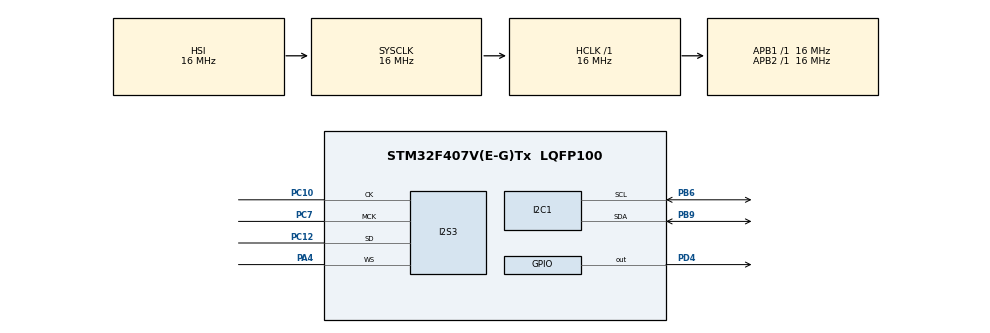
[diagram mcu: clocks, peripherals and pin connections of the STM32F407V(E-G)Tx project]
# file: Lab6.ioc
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Dma.Request0=SPI3_TX
Dma.SPI3_TX.0.Direction=DMA_MEMORY_TO_PERIPH
Dma.SPI3_TX.0.FIFOMode=DMA_FIFOMODE_ENABLE
Dma.SPI3_TX.0.FIFOThreshold=DMA_FIFO_THRESHOLD_FULL
Dma.SPI3_TX.0.Instance=DMA1_Stream5
Dma.SPI3_TX.0.MemBurst=DMA_MBURST_SINGLE
Dma.SPI3_TX.0.MemDataAlignment=DMA_MDATAALIGN_HALFWORD
Dma.SPI3_TX.0.MemInc=DMA_MINC_ENABLE
Dma.SPI3_TX.0.Mode=DMA_CIRCULAR
Dma.SPI3_TX.0.PeriphBurst=DMA_PBURST_SINGLE
Dma.SPI3_TX.0.PeriphDataAlignment=DMA_PDATAALIGN_HALFWORD
Dma.SPI3_TX.0.PeriphInc=DMA_PINC_DISABLE
Dma.SPI3_TX.0.Priority=DMA_PRIORITY_LOW
I2S3.AudioFreq=I2S_AUDIOFREQ_48K
I2S3.ErrorAudioFreq=-2.34 %
I2S3.FullDuplexMode=I2S_FULLDUPLEXMODE_DISABLE
I2S3.Instance=SPI$Index
I2S3.RealAudioFreq=46.875 KHz
I2S3.VirtualMode=I2S_MODE_MASTER
Mcu.Family=STM32F4
Mcu.Name=STM32F407V(E-G)Tx
Mcu.Package=LQFP100
NVIC.DMA1_Stream5_IRQn=true\:0\:0\:false\:false\:true\:false\:true\:true
NVIC.PriorityGroup=NVIC_PRIORITYGROUP_4
PA4.Mode=Half_Duplex_Master
PA4.Signal=I2S3_WS
PB6.Mode=I2C
PB6.Signal=I2C1_SCL
PB9.Mode=I2C
PB9.Signal=I2C1_SDA
PC10.Mode=Half_Duplex_Master
PC10.Signal=I2S3_CK
PC12.Mode=Half_Duplex_Master
PC12.Signal=I2S3_SD
PC7.Mode=Master_Clock_Activated
PC7.Signal=I2S3_MCK
PD4.Signal=GPIO_Output
ProjectManager.HeapSize=0x200
ProjectManager.StackSize=0x400
ProjectManager.TargetToolchain=STM32CubeIDE
RCC.AHBFreq_Value=16000000
RCC.APB1Freq_Value=16000000
RCC.APB2Freq_Value=16000000
RCC.CortexFreq_Value=16000000
RCC.HSE_VALUE=25000000
RCC.HSI_VALUE=16000000
RCC.LSE_VALUE=32768
RCC.SYSCLKFreq_VALUE=16000000
RCC.VCOOutputFreq_Value=192000000
board=custom

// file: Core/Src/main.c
/* USER CODE BEGIN Header */
/**
  ******************************************************************************
  * @file           : main.c
  * @brief          : Main program body
  ******************************************************************************
  * @attention
  *
  * Copyright (c) 2023 STMicroelectronics.
  * All rights reserved.
  *
  * This software is licensed under terms that can be found in the LICENSE file
  * in the root directory of this software component.
  * If no LICENSE file comes with this software, it is provided AS-IS.
  *
  ******************************************************************************
  */
/* USER CODE END Header */
#include "main.h"

/* USER CODE BEGIN PTD */

typedef enum
{
	C4,
	C5,
	D5,
	E5,
	F5,
	G5,
	A5,
	B5,
	C6,
	D6,
	E6,
	F6,
	G6,
	A6,
	B6,
	C7,
	MAX_VALUE
} soundToneType;

/* USER CODE END PTD */

/* USER CODE BEGIN PD */

#define CS43L22_I2C_ADDRESS		0x94
#define I2C_TIMEOUT				10

/* USER CODE END PD */

I2C_HandleTypeDef hi2c1;

I2S_HandleTypeDef hi2s3;
DMA_HandleTypeDef hdma_spi3_tx;

/* USER CODE BEGIN PV */

int16_t dataI2S[100] = {0};

/* USER CODE END PV */

void SystemClock_Config(void);
static void MX_GPIO_Init(void);
static void MX_DMA_Init(void);
static void MX_I2C1_Init(void);
static void MX_I2S3_Init(void);

/* USER CODE BEGIN 0 */

void CS43L22_Init(void)
{
	// Enable chip
	HAL_GPIO_WritePin(GPIOD, GPIO_PIN_4, GPIO_PIN_SET);

	//
	// Initialization
	//
	uint8_t TxBuffer[2];

	TxBuffer[0] = 0x0D;
	TxBuffer[1] = 0x01;
	HAL_I2C_Master_Transmit(&hi2c1, CS43L22_I2C_ADDRESS, (uint8_t*) &TxBuffer, 2, I2C_TIMEOUT);

	TxBuffer[0] = 0x00;
	TxBuffer[1] = 0x99;
	HAL_I2C_Master_Transmit(&hi2c1, CS43L22_I2C_ADDRESS, (uint8_t*) &TxBuffer, 2, I2C_TIMEOUT);

	TxBuffer[0] = 0x47;
	TxBuffer[1] = 0x80;
	HAL_I2C_Master_Transmit(&hi2c1, CS43L22_I2C_ADDRESS, (uint8_t*) &TxBuffer, 2, I2C_TIMEOUT);

	TxBuffer[0] = 0x32;
	TxBuffer[1] = 0xFF;
	HAL_I2C_Master_Transmit(&hi2c1, CS43L22_I2C_ADDRESS, (uint8_t*) &TxBuffer, 2, I2C_TIMEOUT);

	TxBuffer[0] = 0x32;
	TxBuffer[1] = 0x7F;
	HAL_I2C_Master_Transmit(&hi2c1, CS43L22_I2C_ADDRESS, (uint8_t*) &TxBuffer, 2, I2C_TIMEOUT);

	TxBuffer[0] = 0x00;
	TxBuffer[1] = 0x00;
	HAL_I2C_Master_Transmit(&hi2c1, CS43L22_I2C_ADDRESS, (uint8_t*) &TxBuffer, 2, I2C_TIMEOUT);

	TxBuffer[0] = 0x04;
	TxBuffer[1] = 0xAF;
	HAL_I2C_Master_Transmit(&hi2c1, CS43L22_I2C_ADDRESS, (uint8_t*) &TxBuffer, 2, I2C_TIMEOUT);

	TxBuffer[0] = 0x0D;
	TxBuffer[1] = 0x70;
	HAL_I2C_Master_Transmit(&hi2c1, CS43L22_I2C_ADDRESS, (uint8_t*) &TxBuffer, 2, I2C_TIMEOUT);

	TxBuffer[0] = 0x05;
	TxBuffer[1] = 0x81;
	HAL_I2C_Master_Transmit(&hi2c1, CS43L22_I2C_ADDRESS, (uint8_t*) &TxBuffer, 2, I2C_TIMEOUT);

	TxBuffer[0] = 0x06;
	TxBuffer[1] = 0x07;
	HAL_I2C_Master_Transmit(&hi2c1, CS43L22_I2C_ADDRESS, (uint8_t*) &TxBuffer, 2, I2C_TIMEOUT);

	TxBuffer[0] = 0x0A;
	TxBuffer[1] = 0x00;
	HAL_I2C_Master_Transmit(&hi2c1, CS43L22_I2C_ADDRESS, (uint8_t*) &TxBuffer, 2, I2C_TIMEOUT);

	TxBuffer[0] = 0x27;
	TxBuffer[1] = 0x00;
	HAL_I2C_Master_Transmit(&hi2c1, CS43L22_I2C_ADDRESS, (uint8_t*) &TxBuffer, 2, I2C_TIMEOUT);

	TxBuffer[0] = 0x1A;
	TxBuffer[1] = 0x0A;
	HAL_I2C_Master_Transmit(&hi2c1, CS43L22_I2C_ADDRESS, (uint8_t*) &TxBuffer, 2, I2C_TIMEOUT);

	TxBuffer[0] = 0x1B;
	TxBuffer[1] = 0x0A;
	HAL_I2C_Master_Transmit(&hi2c1, CS43L22_I2C_ADDRESS, (uint8_t*) &TxBuffer, 2, I2C_TIMEOUT);

	TxBuffer[0] = 0x1F;
	TxBuffer[1] = 0x0F;
	HAL_I2C_Master_Transmit(&hi2c1, CS43L22_I2C_ADDRESS, (uint8_t*) &TxBuffer, 2, I2C_TIMEOUT);

	TxBuffer[0] = 0x02;
	TxBuffer[1] = 0x9E;
	HAL_I2C_Master_Transmit(&hi2c1, CS43L22_I2C_ADDRESS, (uint8_t*) &TxBuffer, 2, I2C_TIMEOUT);
}

void CS43L22_Beep(soundToneType pitch, uint32_t duration_ms)
{
	uint8_t TxBuffer[2];

	TxBuffer[0] = 0x1D;
	TxBuffer[1] = 0x00;
	HAL_I2C_Master_Transmit(&hi2c1, CS43L22_I2C_ADDRESS, (uint8_t*) &TxBuffer, 2, I2C_TIMEOUT);

	TxBuffer[0] = 0x1C;
	switch (pitch)
	{
		case C4:
			TxBuffer[1] = 0x00;
			break;
		case C5:
			TxBuffer[1] = 0x11;
			break;
		case D5:
			TxBuffer[1] = 0x22;
			break;
		case E5:
			TxBuffer[1] = 0x33;
			break;
		case F5:
			TxBuffer[1] = 0x44;
			break;
		case G5:
			TxBuffer[1] = 0x55;
			break;
		case A5:
			TxBuffer[1] = 0x66;
			break;
		case B5:
			TxBuffer[1] = 0x77;
			break;
		case C6:
			TxBuffer[1] = 0x88;
			break;
		case D6:
			TxBuffer[1] = 0x99;
			break;
		case E6:
			TxBuffer[1] = 0xAA;
			break;
		case F6:
			TxBuffer[1] = 0xBB;
			break;
		case G6:
			TxBuffer[1] = 0xCC;
			break;
		case A6:
			TxBuffer[1] = 0xDD;
			break;
		case B6:
			TxBuffer[1] = 0xEE;
			break;
		case C7:
			TxBuffer[1] = 0xFF;
			break;
		case MAX_VALUE:
		default:
			TxBuffer[1] = 0x00;
			break;
	}
	HAL_I2C_Master_Transmit(&hi2c1, CS43L22_I2C_ADDRESS, (uint8_t*) &TxBuffer, 2, I2C_TIMEOUT);

	TxBuffer[0] = 0x1E;
	TxBuffer[1] = 0xC0;
	HAL_I2C_Master_Transmit(&hi2c1, CS43L22_I2C_ADDRESS, (uint8_t*) &TxBuffer, 2, I2C_TIMEOUT);

	HAL_Delay(duration_ms);

	TxBuffer[0] = 0x1E;
	TxBuffer[1] = 0x00;
	HAL_I2C_Master_Transmit(&hi2c1, CS43L22_I2C_ADDRESS, (uint8_t*) &TxBuffer, 2, I2C_TIMEOUT);
}

/* USER CODE END 0 */

int main(void)
{

  /* MCU Configuration--------------------------------------------------------*/

  /* Reset of all peripherals, Initializes the Flash interface and the Systick. */
  HAL_Init();

  /* Configure the system clock */
  SystemClock_Config();

  /* Initialize all configured peripherals */
  MX_GPIO_Init();
  MX_DMA_Init();
  MX_I2C1_Init();
  MX_I2S3_Init();
  /* USER CODE BEGIN 2 */

  // Init DAC
  CS43L22_Init();

  // Transmit empty data
  HAL_I2S_Transmit_DMA(&hi2s3, (uint16_t *)dataI2S, 100);

  /* USER CODE END 2 */

  /* Infinite loop */
  /* USER CODE BEGIN WHILE */
  while (1)
  {
	  	 CS43L22_Beep(G5, 200);
	     CS43L22_Beep(G5, 200);
	     CS43L22_Beep(A5, 250);
	     CS43L22_Beep(G5, 150);
	     CS43L22_Beep(C6, 150);
	     CS43L22_Beep(B5, 150);

	     HAL_Delay(500);

	     CS43L22_Beep(G5, 200);
	     CS43L22_Beep(G5, 200);
	     CS43L22_Beep(A5, 250);
	     CS43L22_Beep(G5, 150);
	     CS43L22_Beep(D6, 150);
	     CS43L22_Beep(C6, 150);

	     HAL_Delay(500);

	     CS43L22_Beep(G5, 200);
	     CS43L22_Beep(G5, 200);
	     CS43L22_Beep(G5, 250);
	     CS43L22_Beep(E5, 150);
	     CS43L22_Beep(C5, 250);
	     CS43L22_Beep(C5, 200);
	     CS43L22_Beep(B5, 250);
	     CS43L22_Beep(A5, 250);

	     HAL_Delay(500);

	     CS43L22_Beep(F5, 200);
	     CS43L22_Beep(F5, 200);
	     CS43L22_Beep(E5, 200);
	     CS43L22_Beep(C5, 200);
	     CS43L22_Beep(D5, 350);
	     CS43L22_Beep(C5, 350);

	     HAL_Delay(500);

    /* USER CODE END WHILE */

  }
}

void SystemClock_Config(void)
{
  RCC_OscInitTypeDef RCC_OscInitStruct = {0};
  RCC_ClkInitTypeDef RCC_ClkInitStruct = {0};

  /** Macro to configure the PLL multiplication factor
  */
  __HAL_RCC_PLL_PLLM_CONFIG(16);

  /** Macro to configure the PLL clock source
  */
  __HAL_RCC_PLL_PLLSOURCE_CONFIG(RCC_PLLSOURCE_HSI);

  /** Configure the main internal regulator output voltage
  */
  __HAL_RCC_PWR_CLK_ENABLE();
  __HAL_PWR_VOLTAGESCALING_CONFIG(PWR_REGULATOR_VOLTAGE_SCALE1);

  /** Initializes the RCC Oscillators according to the specified parameters
  * in the RCC_OscInitTypeDef structure.
  */
  RCC_OscInitStruct.OscillatorType = RCC_OSCILLATORTYPE_HSI;
  RCC_OscInitStruct.HSIState = RCC_HSI_ON;
  RCC_OscInitStruct.HSICalibrationValue = RCC_HSICALIBRATION_DEFAULT;
  RCC_OscInitStruct.PLL.PLLState = RCC_PLL_NONE;
  RCC_OscInitStruct.PLL.PLLSource = RCC_PLLSOURCE_HSI;
  if (HAL_RCC_OscConfig(&RCC_OscInitStruct) != HAL_OK)
  {
    Error_Handler();
  }

  /** Initializes the CPU, AHB and APB buses clocks
  */
  RCC_ClkInitStruct.ClockType = RCC_CLOCKTYPE_HCLK|RCC_CLOCKTYPE_SYSCLK
                              |RCC_CLOCKTYPE_PCLK1|RCC_CLOCKTYPE_PCLK2;
  RCC_ClkInitStruct.SYSCLKSource = RCC_SYSCLKSOURCE_HSI;
  RCC_ClkInitStruct.AHBCLKDivider = RCC_SYSCLK_DIV1;
  RCC_ClkInitStruct.APB1CLKDivider = RCC_HCLK_DIV1;
  RCC_ClkInitStruct.APB2CLKDivider = RCC_HCLK_DIV1;

  if (HAL_RCC_ClockConfig(&RCC_ClkInitStruct, FLASH_LATENCY_0) != HAL_OK)
  {
    Error_Handler();
  }
}

static void MX_I2C1_Init(void)
{

  hi2c1.Instance = I2C1;
  hi2c1.Init.ClockSpeed = 100000;
  hi2c1.Init.DutyCycle = I2C_DUTYCYCLE_2;
  hi2c1.Init.OwnAddress1 = 0;
  hi2c1.Init.AddressingMode = I2C_ADDRESSINGMODE_7BIT;
  hi2c1.Init.DualAddressMode = I2C_DUALADDRESS_DISABLE;
  hi2c1.Init.OwnAddress2 = 0;
  hi2c1.Init.GeneralCallMode = I2C_GENERALCALL_DISABLE;
  hi2c1.Init.NoStretchMode = I2C_NOSTRETCH_DISABLE;
  if (HAL_I2C_Init(&hi2c1) != HAL_OK)
  {
    Error_Handler();
  }

}

static void MX_I2S3_Init(void)
{

  hi2s3.Instance = SPI3;
  hi2s3.Init.Mode = I2S_MODE_MASTER_TX;
  hi2s3.Init.Standard = I2S_STANDARD_PHILIPS;
  hi2s3.Init.DataFormat = I2S_DATAFORMAT_16B;
  hi2s3.Init.MCLKOutput = I2S_MCLKOUTPUT_ENABLE;
  hi2s3.Init.AudioFreq = I2S_AUDIOFREQ_48K;
  hi2s3.Init.CPOL = I2S_CPOL_LOW;
  hi2s3.Init.ClockSource = I2S_CLOCK_PLL;
  hi2s3.Init.FullDuplexMode = I2S_FULLDUPLEXMODE_DISABLE;
  if (HAL_I2S_Init(&hi2s3) != HAL_OK)
  {
    Error_Handler();
  }

}

static void MX_DMA_Init(void)
{

  /* DMA controller clock enable */
  __HAL_RCC_DMA1_CLK_ENABLE();

  /* DMA interrupt init */
  /* DMA1_Stream5_IRQn interrupt configuration */
  HAL_NVIC_SetPriority(DMA1_Stream5_IRQn, 0, 0);
  HAL_NVIC_EnableIRQ(DMA1_Stream5_IRQn);

}

static void MX_GPIO_Init(void)
{
  GPIO_InitTypeDef GPIO_InitStruct = {0};

  /* GPIO Ports Clock Enable */
  __HAL_RCC_GPIOA_CLK_ENABLE();
  __HAL_RCC_GPIOC_CLK_ENABLE();
  __HAL_RCC_GPIOD_CLK_ENABLE();
  __HAL_RCC_GPIOB_CLK_ENABLE();

  /*Configure GPIO pin Output Level */
  HAL_GPIO_WritePin(GPIOD, GPIO_PIN_4, GPIO_PIN_RESET);

  /*Configure GPIO pin : PD4 */
  GPIO_InitStruct.Pin = GPIO_PIN_4;
  GPIO_InitStruct.Mode = GPIO_MODE_OUTPUT_PP;
  GPIO_InitStruct.Pull = GPIO_NOPULL;
  GPIO_InitStruct.Speed = GPIO_SPEED_FREQ_LOW;
  HAL_GPIO_Init(GPIOD, &GPIO_InitStruct);

}

void Error_Handler(void)
{
  __disable_irq();
  while (1)
  {
  }
}
